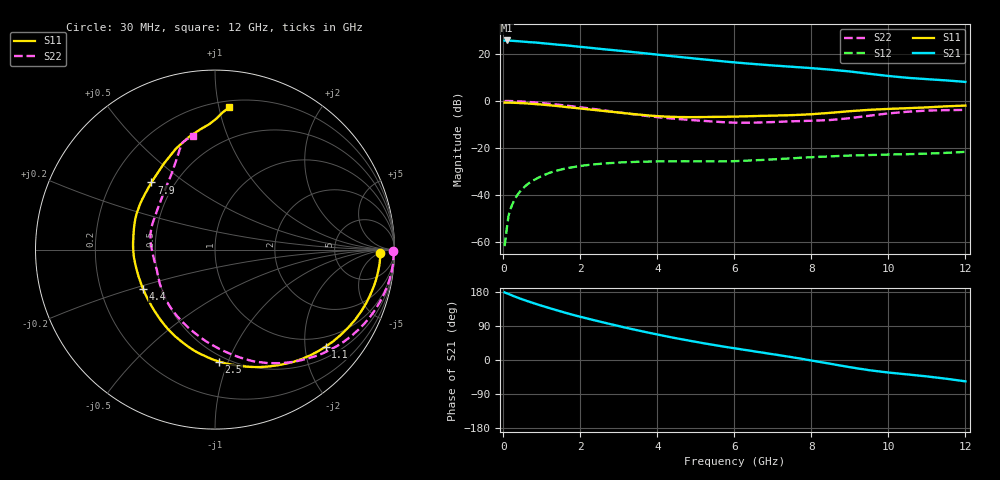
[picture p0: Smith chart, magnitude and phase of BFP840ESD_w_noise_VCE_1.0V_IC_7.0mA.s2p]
! Infineon Technologies  Discrete & RF Semiconductors
! BFP840ESD
! VCE =  1.0 V,  IC =  7.0 mA
! Common Emitter S-Parameters:  May 2012
# GHz  S  MA  R  50
!  f  S11  S21  S12  S22
! GHz  MAG  ANG  MAG  ANG  MAG  ANG  MAG  ANG
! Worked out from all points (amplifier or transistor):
!   93 points, 30 MHz to 12 GHz, reference 50 ohm
!   highest |S21| = 25.8 dB at 80 MHz (marker M1)
!   |S21| within 3 dB of that: start of sweep to 2.166 GHz
!   unconditionally stable (mu >= 1): 5.738 GHz to 10.56 GHz
!   at 1.1 GHz: K = 0.22, MSG = 27.9 dB, |S12| = -31.3 dB
!   at 4.2 GHz: K = 0.71, MSG = 22.6 dB, |S12| = -25.7 dB
!   at 12 GHz: K = 0.76, MSG = 14.9 dB, |S12| = -21.7 dB
!   lowest NFmin = 0.68 dB at 450 MHz
!   S11 on the Smith chart (normalised r, x): 30 MHz: 23, -6; 1.1 GHz: 0.75, -2.46; 2.5 GHz: 0.45, -0.93; 4.4 GHz: 0.39, -0.22; 7.9 GHz: 0.37, +0.38; 12 GHz: 0.25, +1.07
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0.03  0.922 -1.1  19.31 178.3  0.0008 90.5  0.9921 -0.6
0.08  0.9211 -3.1  19.45 176.2  0.0017 96.3  0.9958 -2.5
0.18  0.9174 -7.1  19.21 172.2  0.0049 84.5  0.9931 -6.1
0.38  0.9042 -14.8  18.73 164.1  0.0104 79.1  0.979 -12.8
0.6  0.8839 -23.0  18.11 156.1  0.0161 73.4  0.9557 -20.0
0.9  0.847 -34.1  17.36 146.1  0.0229 65.5  0.9147 -29.3
1.1  0.8204 -41.2  16.74 139.9  0.0272 60.8  0.8837 -35.3
1.6  0.7458 -58.7  15.39 124.9  0.036 49.7  0.7983 -49.4
2.1  0.6747 -75.1  13.94 111.4  0.0421 40.6  0.7132 -62.5
2.5  0.6241 -88.0  12.9 101.5  0.0454 34.1  0.6477 -72.5
2.9  0.5763 -101.2  11.99 91.8  0.0478 28.7  0.5836 -82.2
3.3  0.5321 -114.5  11.15 82.4  0.0496 24.4  0.5276 -92.5
3.7  0.4957 -127.7  10.3 73.6  0.0508 20.3  0.4801 -103.1
4.1  0.4682 -141.3  9.507 65.2  0.0514 17.0  0.4425 -114.0
4.4  0.4564 -151.2  8.953 59.1  0.0515 14.9  0.4203 -122.0
5.2  0.4534 -174.2  7.674 44.2  0.0515 11.3  0.375 -141.4
6.1  0.4644 166.9  6.522 29.4  0.0523 10.8  0.3433 -162.0
7.9  0.5152 133.4  5.069 0.4  0.0625 6.7  0.3756 159.7
8.5  0.5572 120.8  4.637 -10.1  0.0658 3.6  0.3918 144.7
9.5  0.6452 102.8  3.789 -26.9  0.0701 -2.3  0.4832 120.3
10.5  0.6997 92.6  3.107 -38.1  0.0731 -6.8  0.5878 109.7
12  0.7958 84.3  2.541 -56.3  0.0821 -12.4  0.6431 100.8
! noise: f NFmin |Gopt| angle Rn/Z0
0.45  0.68  0.39  1  0.16
0.9  0.7  0.39  5  0.15
1.5  0.71  0.38  13  0.15
1.9  0.73  0.38  17  0.14
2.4  0.74  0.33  28  0.13
3.5  0.77  0.24  56  0.11
5.5  0.86  0.16  126  0.1
8  1.02  0.31  -139  0.09
10  1.18  0.47  -97  0.16
12  1.39  0.59  -75  0.26
